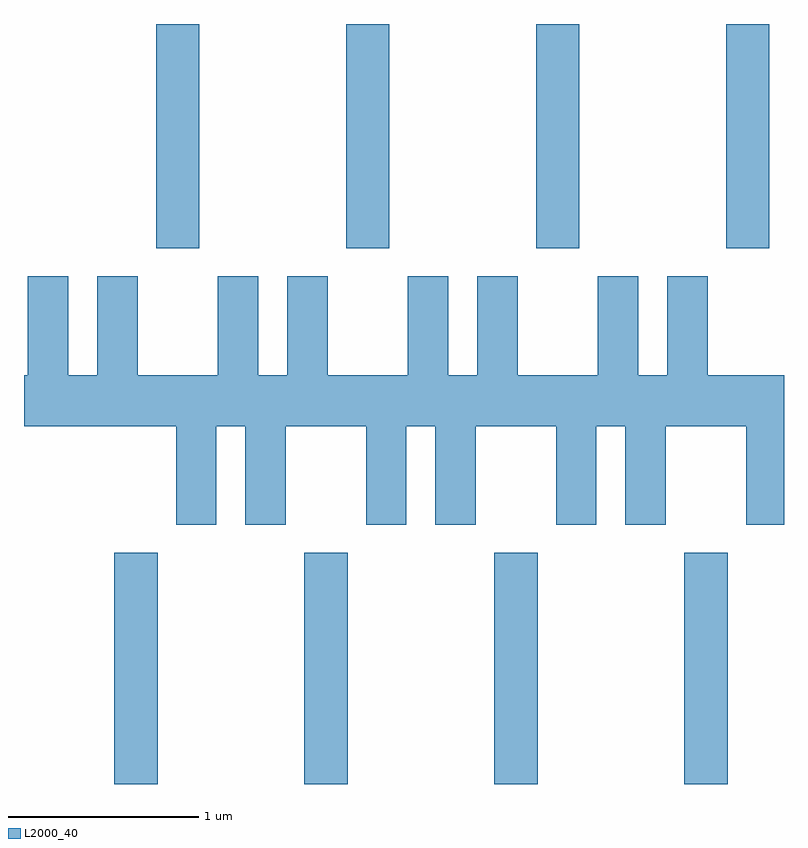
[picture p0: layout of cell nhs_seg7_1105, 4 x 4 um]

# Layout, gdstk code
import gdstk
lib = gdstk.Library(unit=1e-6, precision=1e-09)
def R(c, l, rs):  # rectangles x0, y0, x1, y1
    for r in rs: c.add(gdstk.rectangle(r[:2], r[2:], *l))
def A(c, l, x, y, w, h, nx, ny, dx, dy):  # array of equal rectangles
    R(c, l, [(x+i*dx, y+j*dy, x+i*dx+w, y+j*dy+h) for i in range(nx) for j in range(ny)])
def P(c, l, *ps):  # polygons
    for p in ps: c.add(gdstk.Polygon(p, *l))
L2000_40 = (2000, 40)

nhs_seg7_1105 = lib.new_cell('nhs_seg7_1105')
A(nhs_seg7_1105, L2000_40, 220.086, 1670.252, 0.228, 1.217, 4, 1, 1, 0)
A(nhs_seg7_1105, L2000_40, 220.306, 1673.071, 0.228, 1.181, 4, 1, 1, 0)
P(nhs_seg7_1105, L2000_40, [(219.996,1672.924),(219.996,1672.404),(219.844,1672.404),(219.844,1672.924),(219.631,1672.924),(219.631,1672.404),(219.611,1672.404),(219.611,1672.136),(220.411,1672.136),(220.411,1671.616),(220.624,1671.616),(220.624,1672.136),(220.776,1672.136),(220.776,1671.616),(220.989,1671.616),(220.989,1672.136),(221.411,1672.136),(221.411,1671.616),(221.624,1671.616),(221.624,1672.136),(221.776,1672.136),(221.776,1671.616),(221.989,1671.616),(221.989,1672.136),(222.411,1672.136),(222.411,1671.616),(222.624,1671.616),(222.624,1672.136),(222.776,1672.136),(222.776,1671.616),(222.989,1671.616),(222.989,1672.136),(223.411,1672.136),(223.411,1671.616),(223.611,1671.616),(223.611,1672.404),(223.209,1672.404),(223.209,1672.924),(222.996,1672.924),(222.996,1672.404),(222.844,1672.404),(222.844,1672.924),(222.631,1672.924),(222.631,1672.404),(222.209,1672.404),(222.209,1672.924),(221.996,1672.924),(221.996,1672.404),(221.844,1672.404),(221.844,1672.924),(221.631,1672.924),(221.631,1672.404),(221.209,1672.404),(221.209,1672.924),(220.996,1672.924),(220.996,1672.404),(220.844,1672.404),(220.844,1672.924),(220.631,1672.924),(220.631,1672.404),(220.209,1672.404),(220.209,1672.924)])

lib.write_gds('nhs_seg7_1105.gds')
